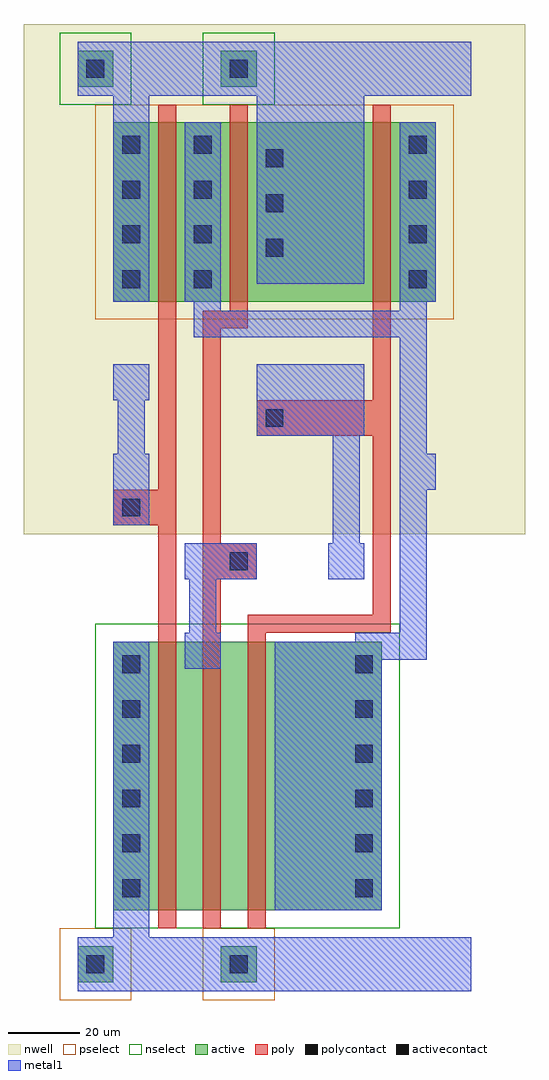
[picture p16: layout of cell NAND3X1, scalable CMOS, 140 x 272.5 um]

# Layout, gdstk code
import gdstk
lib = gdstk.Library(unit=1e-6, precision=1e-09)
def R(c, l, rs):  # rectangles x0, y0, x1, y1
    for r in rs: c.add(gdstk.rectangle(r[:2], r[2:], *l))
def A(c, l, x, y, w, h, nx, ny, dx, dy):  # array of equal rectangles
    R(c, l, [(x+i*dx, y+j*dy, x+i*dx+w, y+j*dy+h) for i in range(nx) for j in range(ny)])
def P(c, l, *ps):  # polygons
    for p in ps: c.add(gdstk.Polygon(p, *l))
nwell = (42, 0)
active = (43, 0)
pselect = (44, 0)
nselect = (45, 0)
poly = (46, 0)
polycontact = (47, 0)
activecontact = (48, 0)
metal1 = (49, 0)

nand3x1 = lib.new_cell('NAND3X1')
R(nand3x1, nwell, [(-20,120,120,262.5)])
R(nand3x1, active, [(-5,-5,5,5), (35,-5,45,5), (5,15,80,90), (5,185,95,235), (-5,245,5,255), (35,245,45,255)])
R(nand3x1, pselect, [(-10,-10,10,10), (30,-10,50,10), (0,180,100,240)])
R(nand3x1, nselect, [(0,10,85,95), (-10,240,10,260), (30,240,50,260)])
R(nand3x1, poly, [(17.5,10,22.5,122.5), (30,10,35,107.5), (42.5,10,47.5,92.5), (42.5,92.5,82.5,97.5), (77.5,97.5,82.5,147.5), (30,107.5,45,117.5), (30,117.5,35,177.5), (5,122.5,22.5,132.5), (17.5,132.5,22.5,240), (45,147.5,82.5,157.5), (77.5,157.5,82.5,240), (30,177.5,42.5,182.5), (37.5,182.5,42.5,240)])
R(nand3x1, polycontact, [(37.5,110,42.5,115), (7.5,125,12.5,130), (47.5,150,52.5,155)])
A(nand3x1, activecontact, 7.5, 18.75, 5, 5, 1, 6, 0, 12.5)
A(nand3x1, activecontact, 72.5, 18.75, 5, 5, 1, 6, 0, 12.5)
A(nand3x1, activecontact, 7.5, 188.75, 5, 5, 1, 4, 0, 12.5)
A(nand3x1, activecontact, 27.5, 188.75, 5, 5, 1, 4, 0, 12.5)
A(nand3x1, activecontact, 87.5, 188.75, 5, 5, 1, 4, 0, 12.5)
A(nand3x1, activecontact, 47.5, 197.5, 5, 5, 1, 3, 0, 12.5)
R(nand3x1, activecontact, [(-2.5,-2.5,2.5,2.5), (37.5,-2.5,42.5,2.5), (-2.5,247.5,2.5,252.5), (37.5,247.5,42.5,252.5)])
R(nand3x1, metal1, [(-5,-7.5,105,7.5), (5,7.5,15,90), (50,15,80,85), (25,82.5,35,92.5), (26.25,83.75,33.75,116.25), (50,85,92.5,90), (72.5,90,92.5,92.5), (85,92.5,92.5,132.5), (25,107.5,45,117.5), (65,107.5,75,117.5), (5,122.5,15,142.5), (85,132.5,95,142.5), (6.25,133.75,13.75,166.25), (85,142.5,92.5,175), (45,147.5,75,167.5), (5,157.5,15,167.5), (27.5,175,92.5,182.5), (27.5,182.5,35,185), (85,182.5,92.5,185), (5,185,15,242.5), (25,185,35,235), (85,185,95,235), (45,190,75,242.5), (-5,242.5,105,257.5)])
P(nand3x1, metal1, [(66.25,108.75),(66.25,158.75),(56.25,158.75),(56.25,166.25),(73.75,166.25),(73.75,108.75)])

lib.write_gds('NAND3X1.gds')
